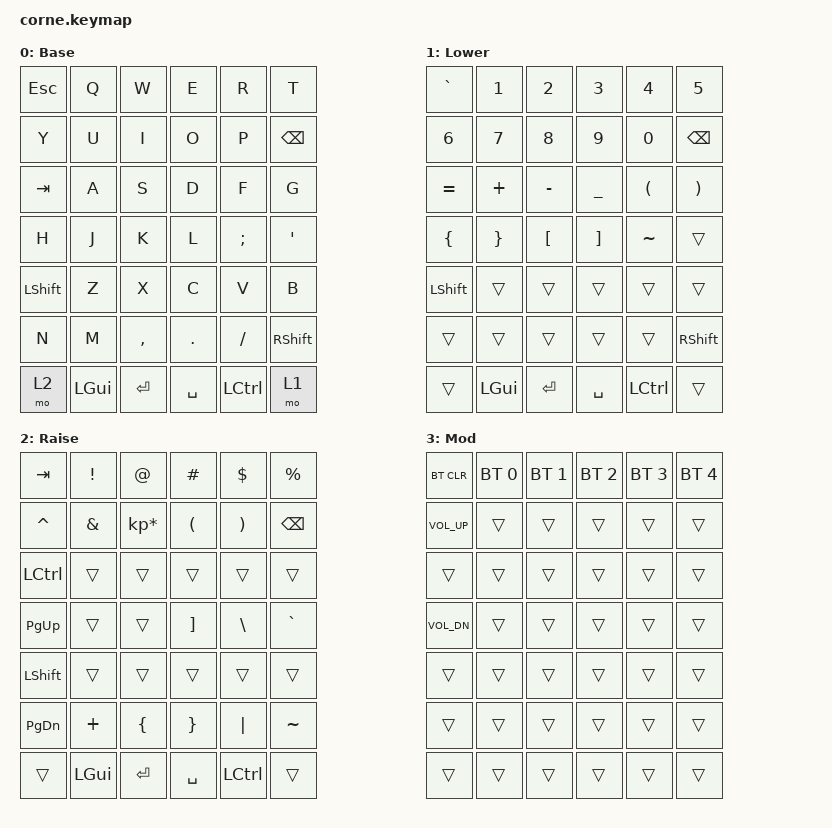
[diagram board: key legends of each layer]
/*
 * Copyright (c) 2020 The ZMK Contributors
 *
 * SPDX-License-Identifier: MIT
 */

#include <behaviors.dtsi>
#include <dt-bindings/zmk/keys.h>
#include <dt-bindings/zmk/bt.h>

// -----------------------------------------------------------------------------------------
// Layout : 12, 12, 12, 6

/ {
    conditional_layers {
        compatible = "zmk,conditional-layers";
        tri_layer {
            if-layers = <1 2>;
            then-layer = <3>;
        };
    };
    keymap {
      compatible = "zmk,keymap";
      default_layer {
        display-name = "Base";
        bindings = <
// -----------------------------------------------------------------------------------------
// | ESC  |  Q  |  W  |  E  |  R  |  T  |       |  Y  |  U   |  I  |  O  |  P  | BKSP |
// | TAB  |  A  |  S  |  D  |  F  |  G  |       |  H  |  J   |  K  |  L  |  ;  |  '   |
// | SHFT |  Z  |  X  |  C  |  V  |  B  |       |  N  |  M   |  ,  |  .  |  /  | SHFT |
//                    | RSE | GUI | ENT |       | SPC | CTRL | LWR |
// -----------------------------------------------------------------------------------------
  
// Row 0
&kp ESC &kp Q &kp W &kp E &kp R &kp T 
&kp Y &kp U &kp I &kp O &kp P &kp BSPC

// Row 1
&kp TAB   &kp A  &kp S  &kp D  &kp F     &kp G
&kp H     &kp J  &kp K  &kp L  &kp SEMI  &kp SQT

// Row 2
&kp LSHFT &kp Z &kp X &kp C &kp V &kp B 
&kp N &kp M  &kp COMMA &kp DOT &kp FSLH &kp RSHFT

// Row 3
&mo 2 &kp LGUI &kp RET &kp SPACE &kp LCTRL &mo 1

// -----------------------------------------------------------------------------------------                   
      >;
      };
      lower_layer {
        display-name = "Lower";
        bindings = <

// -----------------------------------------------------------------------------------------
// |   `  |  1  |  2  |  3  |  4  |  5  |       |  6  |  7  |  8  |  9  |  0  | BKSP |
// |   =  |  +  |  -  |  _  |  (  |  )  |       |  {  |  }  |  [  |  ]  |  ~  |      |
// | SHFT |     |     |     |     |     |       |     |     |     |     |     |      |
//                    |     | GUI | ENT |       | SPC | CTRL|     |
// -----------------------------------------------------------------------------------------
  
  // Row 0
  &kp GRAVE &kp N1 &kp N2 &kp N3 &kp N4 &kp N5   
  &kp N6 &kp N7 &kp N8 &kp N9 &kp N0 &kp BSPC

  // Row 1
  &kp EQUAL &kp PLUS &kp MINUS &kp UNDER &kp LPAR &kp RPAR 
  &kp LBRC &kp RBRC &kp LBKT &kp RBKT &kp TILDE &trans

  // Row 2
  &kp LSHFT &trans &trans &trans &trans &trans 
  &trans &trans &trans &trans &trans &kp RSHFT

  // Row 3
  &trans &kp LGUI &kp RET &kp SPACE &kp LCTRL &trans
// -----------------------------------------------------------------------------------------                   
      >;
      };
      raise_layer {
        display-name = "Raise";
        bindings = <
// -----------------------------------------------------------------------------------------
// |  TAB |  !  |  @  |  #  |  $  |  %  |       |  ^  |  &  |  *  |  (  |  )  | BKSP |
// | CTRL |     |     |     |     |     |       | PGU |     |     |     |  \  |  `   |
// | SHFT |     |     |     |     |     |       | PGD |  +  |  {  |  }  | "|" |  ~   |
//                    |     | GUI | ENT |       | SPC | CTRL|     |
// -----------------------------------------------------------------------------------------

  // Row 0
  &kp TAB &kp EXCL &kp AT &kp HASH &kp DLLR &kp PRCNT
  &kp CARET &kp AMPS &kp KP_MULTIPLY &kp LPAR &kp RPAR &kp BSPC

  // Row 1
  &kp LCTRL &trans &trans &trans &trans &trans
  &kp PG_UP &trans &trans &kp RBKT &kp BSLH &kp GRAVE

  // Row 2
  &kp LSHFT &trans &trans &trans &trans &trans
  &kp PG_DN &kp PLUS  &kp LBRC &kp RBRC &kp PIPE &kp TILDE

  // Row 3 
  &trans &kp LGUI &kp RET &kp SPACE &kp LCTRL &trans
// ----------------------------------------------------------------------------------------- 
      >;
      };
    adjust_layer {
      display-name = "Mod";
      // Layout : 12, 12, 12, 6
      bindings = <
// -----------------------------------------------------------------------------------------
// | BCLR | BT1 | BT2 | BT3 | BT4 | BT5 |       | VUP |     |     |     |     |      |
// |      |     |     |     |     |     |       | VDN |     |     |     |     |      |
// |      |     |     |     |     |     |       |     |     |     |     |     |      |
//                    |     |     |     |       |     |     |     |
// -----------------------------------------------------------------------------------------
        // Row 0
        &bt BT_CLR &bt BT_SEL 0 &bt BT_SEL 1 &bt BT_SEL 2 &bt BT_SEL 3 &bt BT_SEL 4
        &kp K_VOL_UP &trans &trans &trans &trans &trans

        // Row 1
        &trans &trans &trans &trans &trans &trans
        &kp K_VOL_DN &trans &trans &trans &trans &trans

        // Row 2
        &trans &trans &trans &trans &trans &trans &trans &trans &trans &trans &trans &trans

        // Row 3
        &trans &trans &trans   &trans &trans &trans
      >;
    };

    extra_1 {
      status = "reserved";
    };

    extra_2 {
      status = "reserved";
    };

    extra_3 {
      status = "reserved";
    };
  };
};

// BLANK TEMPLATE
// -----------------------------------------------------------------------------------------
// |      |     |     |     |     |     |       |     |     |     |     |     |     |
// |      |     |     |     |     |     |       |     |     |     |     |     |     |
// |      |     |     |     |     |     |       |     |     |     |     |     |     |
//                    |     |     |     |       |     |     |     |
// -----------------------------------------------------------------------------------------
